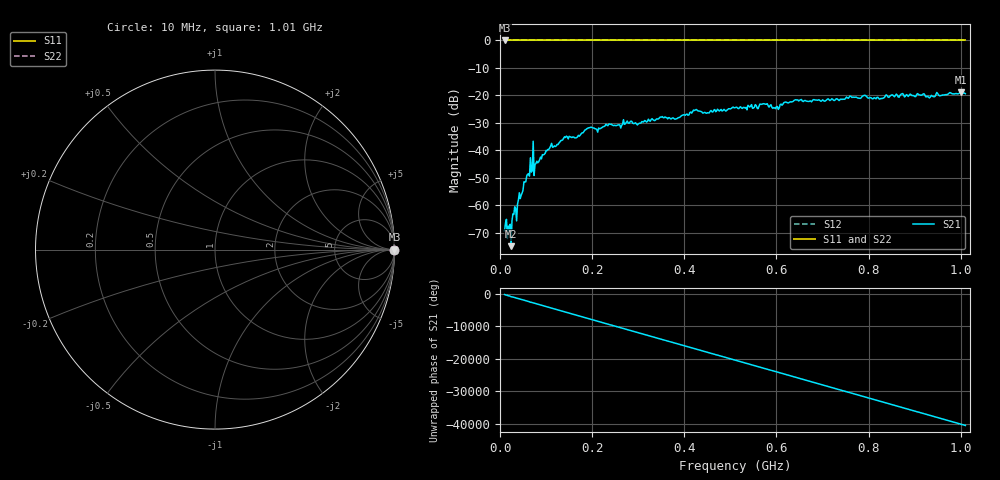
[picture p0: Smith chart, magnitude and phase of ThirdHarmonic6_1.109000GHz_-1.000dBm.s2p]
! 8/16/2025 10:32:07 AM
! C:\ANRITSUVNA\TEMP\TEMP.S2P
! CHANNEL.1
! TR.MEASUREMENT
! RAW.DATA
! RF.CORRECTION.OFF
! AVERAGING.OFF
! IF.BANDWIDTH: 5KHZ
! SWEEPTYPE:  FREQ.SWEEP(Linear)
! Reference Plane Port Info
! PORT:  PORT1  PORT2
! DISTANCE:  0  m  0  m
! TIME:  0  s  0  s
! PHASE.OFFSET:  0  deg.  0  deg.
! LOSS:  0  dB  0  dB
! REF.LOSS:  0  dB  0  dB
! REF.FREQ:  0  Hz  0  Hz
! Power Info
! POWER:  -20  dBm  -20  dBm
! EFF.POWER:  -20  dBm  -20  dBm
! SOURCE.ATTEN:  0  dB  0  dB
! TEST.ATTEN:  0  dB  0  dB
# GHZ S RI R 50.0
! FREQ.GHZ  S11RE  S11IM  S21RE  S21IM  S12RE  S12IM  S22RE  S22IM
!; PortSelection: Port_12
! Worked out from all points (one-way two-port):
!   501 points, 10 MHz to 1.01 GHz, reference 50 ohm
!   highest |S21| = -18.89 dB at 1 GHz (marker M1); lowest = -74.8 dB at 24 MHz (marker M2)
!   lowest |S11| = 0.0 dB at 10 MHz (marker M3)
!   |S11| at or under -10 dB: nowhere
!   |S22| runs from 0.0 to 0.0 dB; largest |S21 - S12| = 1.1
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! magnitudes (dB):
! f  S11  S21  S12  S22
! 10 MHz  0.0  -69.2  0.0  0.0
! 18 MHz  0.0  -67.5  0.0  0.0
! 20 MHz  0.0  -69.0  0.0  0.0
! 24 MHz  0.0  -74.8  0.0  0.0
! 30 MHz  0.0  -63.3  0.0  0.0
! 66 MHz  0.0  -42.7  0.0  0.0
! 68 MHz  0.0  -47.9  0.0  0.0
! 76 MHz  0.0  -45.1  0.0  0.0
! 78 MHz  0.0  -44.8  0.0  0.0
! 108 MHz  0.0  -39.1  0.0  0.0
! 142 MHz  0.0  -35.3  0.0  0.0
! 178 MHz  0.0  -33.6  0.0  0.0
! 194 MHz  0.0  -31.7  0.0  0.0
! 344 MHz  0.0  -28.5  0.0  0.0
! 510 MHz  0.0  -24.5  0.0  0.0
! 576 MHz  0.0  -23.2  0.0  0.0
! 602 MHz  0.0  -24.0  0.0  0.0
! 642 MHz  0.0  -21.6  0.0  0.0
! 678 MHz  0.0  -21.9  0.0  0.0
! 844 MHz  0.0  -20.7  0.0  0.0
! 1 GHz  0.0  -18.9  0.0  0.0
! 1.01 GHz  0.0  -19.4  0.0  0.0
